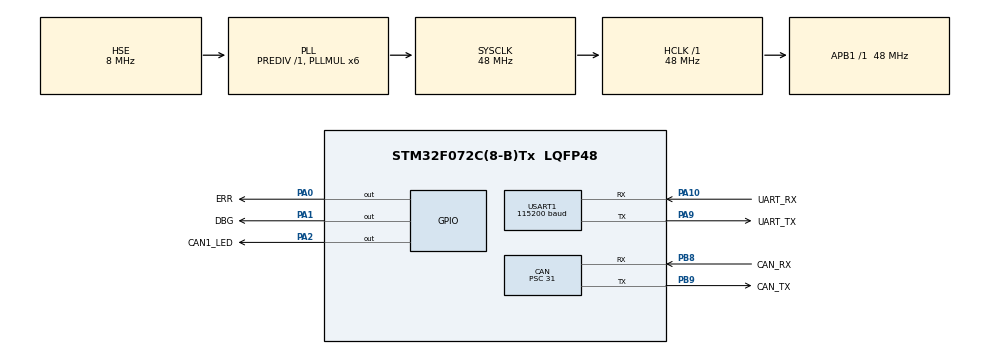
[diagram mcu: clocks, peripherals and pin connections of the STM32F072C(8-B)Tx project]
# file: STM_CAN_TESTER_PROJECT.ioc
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CAN.BS1=CAN_BS1_5TQ
CAN.BS2=CAN_BS2_4TQ
CAN.CalculateBaudRate=154838
CAN.CalculateTimeBit=6458
CAN.CalculateTimeQuantum=645.8333333333333
CAN.NART=DISABLE
CAN.Prescaler=31
CAN.SJW=CAN_SJW_3TQ
Mcu.Family=STM32F0
Mcu.Name=STM32F072C(8-B)Tx
Mcu.Package=LQFP48
NVIC.CEC_CAN_IRQn=true\:0\:0\:false\:false\:true\:true\:true\:true
NVIC.TIM2_IRQn=true\:0\:0\:false\:false\:true\:true\:true\:true
PA0.GPIO_Label=ERR
PA0.Signal=GPIO_Output
PA1.GPIO_Label=DBG
PA1.Signal=GPIO_Output
PA10.GPIO_Label=UART_RX
PA10.Mode=Asynchronous
PA10.Signal=USART1_RX
PA13.GPIO_Label=PRG_DATA
PA13.Mode=Serial_Wire
PA13.Signal=SYS_SWDIO
PA14.GPIO_Label=PRG_CLK
PA14.Mode=Serial_Wire
PA14.Signal=SYS_SWCLK
PA2.GPIO_Label=CAN1_LED
PA2.Signal=GPIO_Output
PA9.GPIO_Label=UART_TX
PA9.Mode=Asynchronous
PA9.Signal=USART1_TX
PB8.GPIO_Label=CAN_RX
PB8.Mode=CAN_Activate
PB8.Signal=CAN_RX
PB9.GPIO_Label=CAN_TX
PB9.Mode=CAN_Activate
PB9.Signal=CAN_TX
PF0-OSC_IN.Mode=HSE-External-Oscillator
PF0-OSC_IN.Signal=RCC_OSC_IN
PF1-OSC_OUT.Mode=HSE-External-Oscillator
PF1-OSC_OUT.Signal=RCC_OSC_OUT
ProjectManager.HeapSize=0x200
ProjectManager.StackSize=0x400
ProjectManager.TargetToolchain=STM32CubeIDE
RCC.AHBFreq_Value=48000000
RCC.APB1Freq_Value=48000000
RCC.APB1TimFreq_Value=48000000
RCC.HCLKFreq_Value=48000000
RCC.PLLMUL=RCC_PLL_MUL6
RCC.PLLSourceVirtual=RCC_PLLSOURCE_HSE
RCC.SYSCLKFreq_VALUE=48000000
RCC.SYSCLKSource=RCC_SYSCLKSOURCE_PLLCLK
TIM2.Period=499
TIM2.Prescaler=39999
USART1.BaudRate=115200
USART1.VirtualMode-Asynchronous=VM_ASYNC
VP_TIM2_VS_ClockSourceINT.Mode=Internal
board=custom

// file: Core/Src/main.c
/* USER CODE BEGIN Header */
/**
  ******************************************************************************
  * @file           : main.c
  * @brief          : Main program body
  ******************************************************************************
  * @attention
  *
  * Copyright (c) 2025 STMicroelectronics.
  * All rights reserved.
  *
  * This software is licensed under terms that can be found in the LICENSE file
  * in the root directory of this software component.
  * If no LICENSE file comes with this software, it is provided AS-IS.
  *
  ******************************************************************************
  */
/* USER CODE END Header */
#include "main.h"

/* USER CODE BEGIN PD */

#define UART_HANDLE &huart1
#define CAN_HANDLE &hcan

extern UART_HandleTypeDef huart1;
extern CAN_HandleTypeDef hcan;

uint8_t datacheck = 0;

// UART
uint8_t uart_rx[64];
uint8_t uart_tx[64];
uint32_t uart_rx_len = 0;
volatile uint32_t boot_counter = 0;

// CAN
CAN_TxHeaderTypeDef canTxHeader;  // CAN transmission header
CAN_RxHeaderTypeDef canRxHeader;
uint8_t canTxData[8];			// CAN Data
uint8_t canRxData[8];
uint32_t canTxMailbox;        // CAN mailbox for transmission

// At 6:25 https://youtu.be/KHNRftBa1Vc?si=YXZLho1I0s0ldr1W <<<<<<<<<<<<<<<<<<<<-----------

/* USER CODE END PD */

CAN_HandleTypeDef hcan;

TIM_HandleTypeDef htim2;

UART_HandleTypeDef huart1;

void SystemClock_Config(void);
static void MX_GPIO_Init(void);
static void MX_CAN_Init(void);
static void MX_USART1_UART_Init(void);
static void MX_TIM2_Init(void);

/* USER CODE BEGIN 0 */
void HAL_GPIO_EXIT_CallBack(uint16_t GPIO_Pin)
{
	if (GPIO_Pin == GPIO_PIN_13)
	{
		canTxData[0] = 100;
		canTxData[1] = 10;

		HAL_CAN_AddTxMessage(&hcan, &canTxHeader, canTxData, &canTxMailbox);
	}
}

//void HAL_CAN_RxFifo1MsgPendingCallback(CAN_HandleTypeDef *hcan)
//{
//		Hal_CAN_GetRxMessage(hcan, CAN_RX_FIFO0, &canRxHeader, canRxData);
//		if (canRxHeader.DLC == 2) {
//			datacheck = 1;
//		}
//}

// Interrupt Service Routine for FIFO 0
// STM32 HAL calls this automatically when a message arrives.
void HAL_CAN_RxFifo0MsgPendingCallback(CAN_HandleTypeDef *hcan)
{
    // Reads the received CAN message from FIFO0 into a local header and data buffer.
    HAL_CAN_GetRxMessage(hcan, CAN_RX_FIFO0, &canRxHeader, canRxData);

    // Only process messages with 1–8 data bytes
    if (canRxHeader.DLC > 0 && canRxHeader.DLC <= 8) {
        datacheck = 1;  // Set flag to trigger action in main()

        // Create a packet structure to hold ID and data
        CANPacket rx_packet = {
            .id = canRxHeader.StdId,
            .dlc = canRxHeader.DLC
        };

        // Copy the received data bytes into the packet
        memcpy(rx_packet.data, canRxData, canRxHeader.DLC);

        // Format the packet into a readable string
        sprintCANPacket(&rx_packet, uart_tx);

        // Send the formatted CAN message string over UART
        Print("Received CAN packet: ");
        Print(uart_tx);
    }
}

/* USER CODE END 0 */

int main(void)
{

  /* MCU Configuration--------------------------------------------------------*/

  /* Reset of all peripherals, Initializes the Flash interface and the Systick. */
  HAL_Init();

  /* Configure the system clock */
  SystemClock_Config();

  /* Initialize all configured peripherals */
  MX_GPIO_Init();
  MX_CAN_Init();
  MX_USART1_UART_Init();
  MX_TIM2_Init();
  /* USER CODE BEGIN 2 */

  // Activate the notification
  HAL_CAN_ActivateNotification(&hcan, CAN_IT_RX_FIFO0_MSG_PENDING);
  canTxHeader.DLC = 2; // data length
  canTxHeader.IDE = CAN_ID_STD;
  canTxHeader.RTR = CAN_RTR_DATA;
  canTxHeader.StdId = 0x446; // ID			Need to change device stdid based on the stuff we are debugging				// TODO: ADJUST CAN STUFF HERE

  // Toggle ERR LED
  boot_counter++;
  char msg[50];
  sprintf(msg, "Boot count: %lu\r\n", boot_counter);
  Print(msg);
  HAL_StatusTypeDef is_enabled = HAL_TIM_Base_Start_IT(&htim2);

  if (is_enabled != HAL_OK) {
      Print("Timer Start Failed!\r\n");  // Debug message
      Error_Handler();                   // Enter error handler if failed
  } else {
      Print("Timer Started Successfully!\r\n");  // Confirm success
  }

  /* USER CODE END 2 */

  /* Infinite loop */
  /* USER CODE BEGIN WHILE */
  while (1) {

	  // Process for UART input and send CAN packet if valid.
	  processUARTtoCAN();

	  // Only respond if a new CAN message has been received
    if (datacheck == 1) {
        // Use data in received message to blink an LED
        // Blink count = canRxData[1], delay = canRxData[0] ms
        for (int i = 0; i < canRxData[1]; i++) {
            HAL_GPIO_TogglePin(GPIOA, GPIO_PIN_5);  // Toggle LED
            HAL_Delay(canRxData[0]);                // Wait
        }

        // Reset the flag so this only happens once per message
        datacheck = 0;
    }

	  // Check if Can packet received
	  /*if (PollAndReceiveCANPacket(&can_rx) == ERROR_NONE) {
	      sprintCANPacket(&can_rx, uart_tx);
	      Print(uart_tx);
	  }*/
  }
    /* USER CODE END WHILE */

}

void SystemClock_Config(void)
{
  RCC_OscInitTypeDef RCC_OscInitStruct = {0};
  RCC_ClkInitTypeDef RCC_ClkInitStruct = {0};
  RCC_PeriphCLKInitTypeDef PeriphClkInit = {0};

  /** Initializes the RCC Oscillators according to the specified parameters
  * in the RCC_OscInitTypeDef structure.
  */
  RCC_OscInitStruct.OscillatorType = RCC_OSCILLATORTYPE_HSE;
  RCC_OscInitStruct.HSEState = RCC_HSE_ON;
  RCC_OscInitStruct.PLL.PLLState = RCC_PLL_ON;
  RCC_OscInitStruct.PLL.PLLSource = RCC_PLLSOURCE_HSE;
  RCC_OscInitStruct.PLL.PLLMUL = RCC_PLL_MUL6;
  RCC_OscInitStruct.PLL.PREDIV = RCC_PREDIV_DIV1;
  if (HAL_RCC_OscConfig(&RCC_OscInitStruct) != HAL_OK)
  {
    Error_Handler();
  }

  /** Initializes the CPU, AHB and APB buses clocks
  */
  RCC_ClkInitStruct.ClockType = RCC_CLOCKTYPE_HCLK|RCC_CLOCKTYPE_SYSCLK
                              |RCC_CLOCKTYPE_PCLK1;
  RCC_ClkInitStruct.SYSCLKSource = RCC_SYSCLKSOURCE_PLLCLK;
  RCC_ClkInitStruct.AHBCLKDivider = RCC_SYSCLK_DIV1;
  RCC_ClkInitStruct.APB1CLKDivider = RCC_HCLK_DIV1;

  if (HAL_RCC_ClockConfig(&RCC_ClkInitStruct, FLASH_LATENCY_1) != HAL_OK)
  {
    Error_Handler();
  }
  PeriphClkInit.PeriphClockSelection = RCC_PERIPHCLK_USART1;
  PeriphClkInit.Usart1ClockSelection = RCC_USART1CLKSOURCE_PCLK1;
  if (HAL_RCCEx_PeriphCLKConfig(&PeriphClkInit) != HAL_OK)
  {
    Error_Handler();
  }
}

static void MX_CAN_Init(void)
{

  hcan.Instance = CAN;
  hcan.Init.Prescaler = 31;
  hcan.Init.Mode = CAN_MODE_NORMAL;
  hcan.Init.SyncJumpWidth = CAN_SJW_3TQ;
  hcan.Init.TimeSeg1 = CAN_BS1_5TQ;
  hcan.Init.TimeSeg2 = CAN_BS2_4TQ;
  hcan.Init.TimeTriggeredMode = DISABLE;
  hcan.Init.AutoBusOff = DISABLE;
  hcan.Init.AutoWakeUp = DISABLE;
  hcan.Init.AutoRetransmission = DISABLE;
  hcan.Init.ReceiveFifoLocked = DISABLE;
  hcan.Init.TransmitFifoPriority = DISABLE;
  if (HAL_CAN_Init(&hcan) != HAL_OK)
  {
    Error_Handler();
  }
  /* USER CODE BEGIN CAN_Init 2 */
  CAN_FilterTypeDef canfilterconfig;

  canfilterconfig.FilterActivation = CAN_FILTER_ENABLE;
  canfilterconfig.FilterBank = 18;  // which filter bank to use from the assigned ones
  canfilterconfig.FilterFIFOAssignment = CAN_FILTER_FIFO0;
  canfilterconfig.FilterIdHigh = 0x0000;
  canfilterconfig.FilterIdLow = 0x0000;
  canfilterconfig.FilterMaskIdHigh = 0x0000;
  canfilterconfig.FilterMaskIdLow = 0x0000;
  canfilterconfig.FilterMode = CAN_FILTERMODE_IDMASK;
  canfilterconfig.FilterScale = CAN_FILTERSCALE_32BIT;
  canfilterconfig.SlaveStartFilterBank = 20;  // how many filters to assign to the CAN1 (master can)

  HAL_CAN_ConfigFilter(&hcan, &canfilterconfig);
  /* USER CODE END CAN_Init 2 */

}

static void MX_TIM2_Init(void)
{

  TIM_ClockConfigTypeDef sClockSourceConfig = {0};
  TIM_MasterConfigTypeDef sMasterConfig = {0};

  htim2.Instance = TIM2;
  htim2.Init.Prescaler = 39999;
  htim2.Init.CounterMode = TIM_COUNTERMODE_UP;
  htim2.Init.Period = 499;
  htim2.Init.ClockDivision = TIM_CLOCKDIVISION_DIV1;
  htim2.Init.AutoReloadPreload = TIM_AUTORELOAD_PRELOAD_DISABLE;
  if (HAL_TIM_Base_Init(&htim2) != HAL_OK)
  {
    Error_Handler();
  }
  sClockSourceConfig.ClockSource = TIM_CLOCKSOURCE_INTERNAL;
  if (HAL_TIM_ConfigClockSource(&htim2, &sClockSourceConfig) != HAL_OK)
  {
    Error_Handler();
  }
  sMasterConfig.MasterOutputTrigger = TIM_TRGO_RESET;
  sMasterConfig.MasterSlaveMode = TIM_MASTERSLAVEMODE_DISABLE;
  if (HAL_TIMEx_MasterConfigSynchronization(&htim2, &sMasterConfig) != HAL_OK)
  {
    Error_Handler();
  }
  /* USER CODE BEGIN TIM2_Init 2 */
  HAL_NVIC_SetPriority(TIM2_IRQn,0,0);
    HAL_NVIC_EnableIRQ(TIM2_IRQn);
  /* USER CODE END TIM2_Init 2 */

}

static void MX_USART1_UART_Init(void)
{

  huart1.Instance = USART1;
  huart1.Init.BaudRate = 115200;
  huart1.Init.WordLength = UART_WORDLENGTH_8B;
  huart1.Init.StopBits = UART_STOPBITS_1;
  huart1.Init.Parity = UART_PARITY_NONE;
  huart1.Init.Mode = UART_MODE_TX_RX;
  huart1.Init.HwFlowCtl = UART_HWCONTROL_NONE;
  huart1.Init.OverSampling = UART_OVERSAMPLING_16;
  huart1.Init.OneBitSampling = UART_ONE_BIT_SAMPLE_DISABLE;
  huart1.AdvancedInit.AdvFeatureInit = UART_ADVFEATURE_NO_INIT;
  if (HAL_UART_Init(&huart1) != HAL_OK)
  {
    Error_Handler();
  }

}

static void MX_GPIO_Init(void)
{
  GPIO_InitTypeDef GPIO_InitStruct = {0};

  /* GPIO Ports Clock Enable */
  __HAL_RCC_GPIOF_CLK_ENABLE();
  __HAL_RCC_GPIOA_CLK_ENABLE();
  __HAL_RCC_GPIOB_CLK_ENABLE();

  /*Configure GPIO pin Output Level */
  HAL_GPIO_WritePin(GPIOA, ERR_Pin|DBG_Pin|CAN1_LED_Pin, GPIO_PIN_RESET);

  /*Configure GPIO pins : ERR_Pin DBG_Pin CAN1_LED_Pin */
  GPIO_InitStruct.Pin = ERR_Pin|DBG_Pin|CAN1_LED_Pin;
  GPIO_InitStruct.Mode = GPIO_MODE_OUTPUT_PP;
  GPIO_InitStruct.Pull = GPIO_NOPULL;
  GPIO_InitStruct.Speed = GPIO_SPEED_FREQ_LOW;
  HAL_GPIO_Init(GPIOA, &GPIO_InitStruct);

}

/* USER CODE BEGIN 4 */
void HAL_TIM_PeriodElapsedCallback(TIM_HandleTypeDef *htim) {
	if (htim->Instance == TIM2) {
		HAL_GPIO_TogglePin(ERR_GPIO_Port, ERR_Pin);
//		Print("TIM2 Interrupt Triggered!\r\n");  // Debug message
	}
}

void TIM2_BRK_UP_TRG_COM_IRQHandler(void) {
    HAL_TIM_IRQHandler(&htim2);
}

/* -------------------- CAN STUFF BELOW -------------------- */

/**
 * @brief Processes incoming UART characters and sends a corresponding CAN message.
 *
 * This function reads a character from UART, stores it in a buffer, and processes the
 * command when a carriage return ('\r') is received. If a valid command is detected,
 * it constructs a CAN message and attempts to send it via the CAN bus.
 *
 */
void processUARTtoCAN(void) {
    uint8_t c;

    if (HAL_UART_Receive(UART_HANDLE, &c, 1, 10) == HAL_OK) {  // Read one byte with timeout
        if (c == '\r') {  // If Enter key pressed, process command

            // Check if all mailboxes are full
            if (HAL_CAN_GetTxMailboxesFreeLevel(CAN_HANDLE) <= 0) {
                Print("Mailboxes Full! Aborting the oldest message...\r\n");

                // Identify the oldest pending mailbox and abort only one
                if (HAL_CAN_IsTxMessagePending(CAN_HANDLE, CAN_TX_MAILBOX0)) {
                    HAL_CAN_AbortTxRequest(CAN_HANDLE, CAN_TX_MAILBOX0);
                    Print("Aborted TX Mailbox 0\r\n");
                } else if (HAL_CAN_IsTxMessagePending(CAN_HANDLE, CAN_TX_MAILBOX1)) {
                    HAL_CAN_AbortTxRequest(CAN_HANDLE, CAN_TX_MAILBOX1);
                    Print("Aborted TX Mailbox 1\r\n");
                } else if (HAL_CAN_IsTxMessagePending(CAN_HANDLE, CAN_TX_MAILBOX2)) {
                    HAL_CAN_AbortTxRequest(CAN_HANDLE, CAN_TX_MAILBOX2);
                    Print("Aborted TX Mailbox 2\r\n");
                }
            }

            // 1. Parse UART to CAN Packet
            parseLine(&canTxHeader, uart_rx + 1, uart_rx_len - 1);
            Print("\r\n------------------------------------ \r\nAttempting to CAN send: ");
            Print(uart_rx);
            Print("\r\n");

            // 2. Send if there is a free mailbox
            if (HAL_CAN_GetTxMailboxesFreeLevel(CAN_HANDLE) > 0) {
                if (HAL_CAN_AddTxMessage(CAN_HANDLE, &canTxHeader, canTxData, &canTxMailbox) == HAL_OK) {

                	// Message successfully queued to the mailbox
                	sprintCANPacket(&canTxHeader, uart_tx);
                    Print("Queued CAN message: ");
                    Print(uart_tx);

                    // Check if transmitted
					while (HAL_CAN_IsTxMessagePending(CAN_HANDLE, canTxMailbox)) {
						HAL_Delay(10);  // Small delay to allow message to transmit
					}

					// Message was successfully sent out
					Print("CAN message sent successfully.\r\n");

                } else {
                    Print("CAN Tx queued but failed to send! Check CAN receiver connection.\r\n");
                    Error_Handler();
                }
            } else {
            	Print("No free mailbox! Message was not sent. Check CAN receiver connection. \r\n");
            }

            Print("------------------------------------ \r\n \r\n");

            // Reset UART buffer
            uart_rx_len = 0;
            memset(uart_rx, 0, sizeof(uart_rx));
        } else {
            uart_rx[uart_rx_len] = c;
            uart_rx_len++;
        }
    }
}

/**
 * @brief Converts a single hexadecimal character (0-9, A-F, a-f) to its decimal equivalent.
 *
 * @param c The hexadecimal character to convert.
 * @return uint8_t The decimal equivalent of the hex character (0-15).
 */
uint8_t s2x(char c) {
    if (c >= '0' && c <= '9') return c - '0';
    if (c >= 'A' && c <= 'F') return c - 'A' + 10;
    if (c >= 'a' && c <= 'f') return c - 'a' + 10;
    return 0;  // Default case: return 0 if not a valid hex character
}

/**
 * @brief Parses a UART command string into a CANPacket structure.
 *
 * This function extracts the CAN ID from the input string and converts hex pairs
 * into CAN data bytes.
 *
 * @param p Pointer to the CANPacket structure to store the parsed data.
 * @param line Character array containing the command string.
 * @param length Length of the input string.
 */
void parseLine(CANPacket* p, char line[], int length) {
    if (length < 6) return;  // Minimum length check to avoid buffer overflows

    // Extract ID components
    uint16_t pr = (uint16_t) s2x(line[0]) << 10;
    uint16_t dg = (uint16_t) s2x(line[2]) << 6;
    uint16_t sn = (uint16_t) s2x(line[4]) << 4 | s2x(line[5]);

    p->id = (pr | dg | sn);  // Combine into a single CAN ID

    // Extract CAN Data
    int i = 0, j = 8;  // Start parsing from index 8 (where data begins)
    while (j < length && i < 8) {
        if (line[j-1] != ' ' && line[j] != ' ') {  // Ignore spaces
            p->data[i] = (s2x(line[j-1]) << 4) | s2x(line[j]);  // Convert hex pair to byte
            i++;
        }
        j += 3;  // Move to next hex pair (assuming "XX XX XX" format)
    }
    p->dlc = i;  // Store the number of valid data bytes
}

/**
 * @brief Formats a CANPacket structure into a human-readable string.
 *
 * The function extracts CAN ID fields and converts data bytes into a
 * formatted string representation for easy UART transmission.
 *
 * @param packet Pointer to the CANPacket structure containing the CAN message.
 * @param buffer Character array where the formatted string will be stored.
 */
void sprintCANPacket(CANPacket* packet, char* buffer) {
    if (!packet || !buffer) return;  // Null pointer check

    // Extract priority, device group, and serial number
    uint8_t pri = (packet->id & 0x400) >> 10;
    uint8_t dg  = (packet->id & 0x3C0) >> 6;
    uint8_t sn  = (packet->id & 0x03F);

    // Format the ID part
    int len = sprintf(buffer, "%01X %02X %02X ", pri, dg, sn);

    // Format the data part (DLC determines how many bytes to print)
    for (int i = 0; i < packet->dlc; i++) {
        len += sprintf(buffer + len, "%02X ", packet->data[i]);
    }

    // Append newline
    sprintf(buffer + len, "\r\n");
}

/**
 * @brief Sends a message over UART.
 *
 * This function transmits a string over UART using HAL_UART_Transmit.
 *
 * @param msg Pointer to the null-terminated string to be transmitted.
 */
void Print(const char *msg) {
    HAL_UART_Transmit(UART_HANDLE, (uint8_t *)msg, strlen(msg), HAL_MAX_DELAY);
}

/* USER CODE END 4 */

void Error_Handler(void)
{
  __disable_irq();
}
